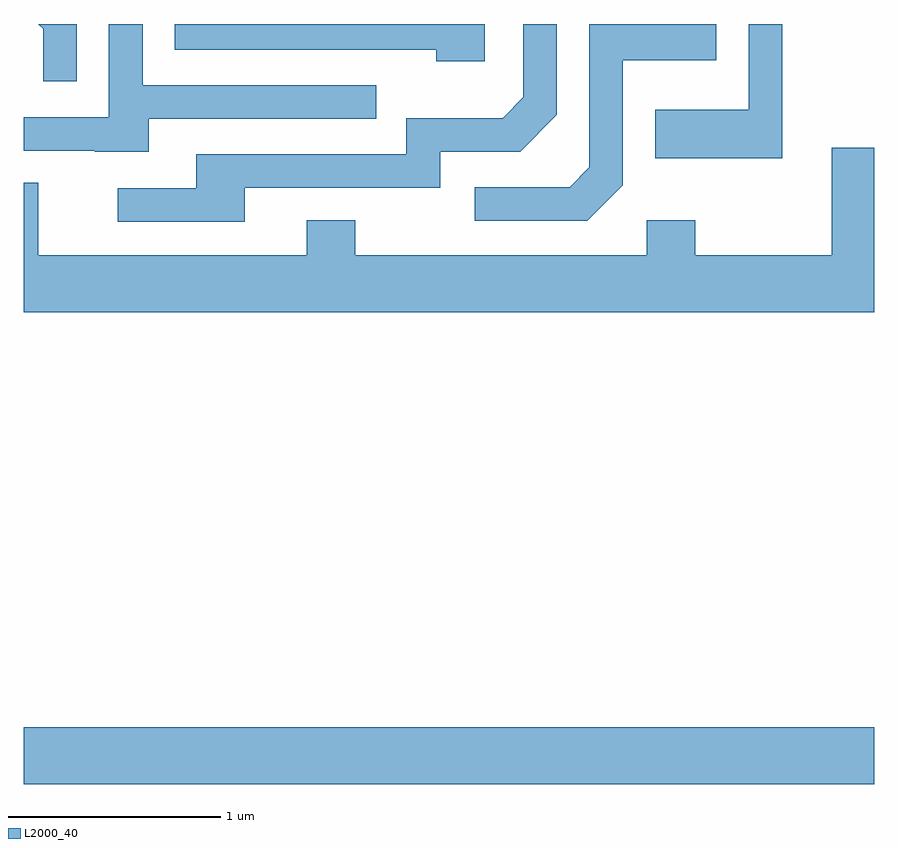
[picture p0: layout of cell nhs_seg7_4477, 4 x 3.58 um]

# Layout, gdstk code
import gdstk
lib = gdstk.Library(unit=1e-6, precision=1e-09)
def R(c, l, rs):  # rectangles x0, y0, x1, y1
    for r in rs: c.add(gdstk.rectangle(r[:2], r[2:], *l))
def P(c, l, *ps):  # polygons
    for p in ps: c.add(gdstk.Polygon(p, *l))
L2000_40 = (2000, 40)

nhs_seg7_4477 = lib.new_cell('nhs_seg7_4477')
R(nhs_seg7_4477, L2000_40, [(321.611,1798.676,325.611,1798.944)])
P(nhs_seg7_4477, L2000_40, [(321.859,1802.252),(321.678,1802.252),(321.701,1802.229),(321.701,1801.983),(321.859,1801.983)],
  [(323.779,1802.252),(322.321,1802.252),(322.321,1802.131),(323.551,1802.131),(323.551,1802.076),(323.779,1802.076)],
  [(325.179,1802.252),(325.021,1802.252),(325.021,1801.849),(324.581,1801.849),(324.581,1801.621),(325.179,1801.621)],
  [(322.199,1801.806),(323.268,1801.806),(323.268,1801.964),(322.169,1801.964),(322.169,1802.252),(322.011,1802.252),(322.011,1801.814),(321.611,1801.814),(321.611,1801.656),(321.945,1801.656),(321.945,1801.651),(322.199,1801.651)],
  [(322.649,1801.481),(323.569,1801.481),(323.569,1801.651),(323.947,1801.651),(324.119,1801.824),(324.119,1802.252),(323.961,1802.252),(323.961,1801.907),(323.864,1801.809),(323.411,1801.809),(323.411,1801.639),(322.421,1801.639),(322.421,1801.479),(322.053,1801.479),(322.053,1801.321),(322.649,1801.321)],
  [(324.429,1801.494),(324.429,1802.081),(324.869,1802.081),(324.869,1802.252),(324.271,1802.252),(324.271,1801.577),(324.179,1801.484),(323.733,1801.484),(323.733,1801.326),(324.262,1801.326)],
  [(325.611,1801.669),(325.411,1801.669),(325.411,1801.164),(324.769,1801.164),(324.769,1801.329),(324.541,1801.329),(324.541,1801.164),(323.169,1801.164),(323.169,1801.329),(322.941,1801.329),(322.941,1801.164),(321.679,1801.164),(321.679,1801.504),(321.611,1801.504),(321.611,1800.896),(325.611,1800.896)])

lib.write_gds('nhs_seg7_4477.gds')
